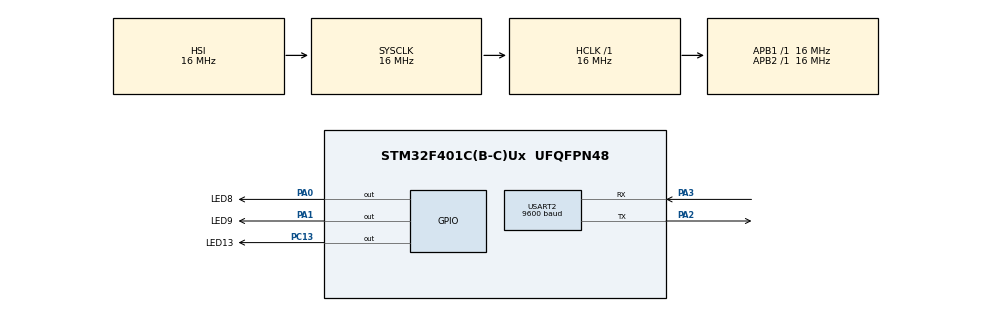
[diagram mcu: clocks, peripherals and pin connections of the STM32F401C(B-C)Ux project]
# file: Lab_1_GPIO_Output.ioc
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Mcu.Family=STM32F4
Mcu.Name=STM32F401C(B-C)Ux
Mcu.Package=UFQFPN48
NVIC.PriorityGroup=NVIC_PRIORITYGROUP_4
NVIC.USART2_IRQn=true\:5\:0\:true\:false\:true\:true\:true\:true
PA0-WKUP.GPIO_Label=LED8
PA0-WKUP.Signal=GPIO_Output
PA1.GPIO_Label=LED9
PA1.Signal=GPIO_Output
PA13.Mode=Serial_Wire
PA13.Signal=SYS_JTMS-SWDIO
PA14.Mode=Serial_Wire
PA14.Signal=SYS_JTCK-SWCLK
PA2.Mode=Asynchronous
PA2.Signal=USART2_TX
PA3.Mode=Asynchronous
PA3.Signal=USART2_RX
PC13-ANTI_TAMP.GPIO_Label=LED13
PC13-ANTI_TAMP.Signal=GPIO_Output
ProjectManager.HeapSize=0x200
ProjectManager.StackSize=0x400
ProjectManager.TargetToolchain=STM32CubeIDE
RCC.AHBFreq_Value=16000000
RCC.APB1Freq_Value=16000000
RCC.APB2Freq_Value=16000000
RCC.CortexFreq_Value=16000000
RCC.HSE_VALUE=25000000
RCC.HSI_VALUE=16000000
RCC.LSE_VALUE=32768
RCC.SYSCLKFreq_VALUE=16000000
RCC.VCOOutputFreq_Value=192000000
USART2.BaudRate=9600
USART2.VirtualMode=VM_ASYNC
board=custom

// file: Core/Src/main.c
/* USER CODE BEGIN Header */
/**
  ******************************************************************************
  * @file           : main.c
  * @brief          : Main program body
  ******************************************************************************
  * @attention
  *
  * Copyright (c) 2023 STMicroelectronics.
  * All rights reserved.
  *
  * This software is licensed under terms that can be found in the LICENSE file
  * in the root directory of this software component.
  * If no LICENSE file comes with this software, it is provided AS-IS.
  *
  ******************************************************************************
  */
/* USER CODE END Header */
#include "main.h"
#include <string.h>

UART_HandleTypeDef huart2;

/* USER CODE BEGIN PV */
uint8_t rx2[1] = { '\0' };
uint8_t tx2[1] = { '\0' };

uint8_t data[3] = {0};
int data_index = 0;
/* USER CODE END PV */

void SystemClock_Config(void);
static void MX_GPIO_Init(void);
static void MX_USART2_UART_Init(void);

int main(void)
{

  /* MCU Configuration--------------------------------------------------------*/

  /* Reset of all peripherals, Initializes the Flash interface and the Systick. */
  HAL_Init();

  /* Configure the system clock */
  SystemClock_Config();

  /* Initialize all configured peripherals */
  MX_GPIO_Init();
  MX_USART2_UART_Init();

  /* Infinite loop */
  /* USER CODE BEGIN WHILE */

  uint8_t msg[] = "Ready to work\n\r";

  HAL_UART_Transmit(&huart2, msg, sizeof(msg), 1000);
  while (1)
  {
	  HAL_GPIO_TogglePin(LED13_GPIO_Port, LED13_Pin);

    /* USER CODE END WHILE */

    /* USER CODE BEGIN 3 */
	 HAL_Delay(200);
	 if(huart2.RxState == HAL_UART_STATE_READY) {
		 HAL_UART_Receive_IT(&huart2, rx2, sizeof(rx2));
	 }
  }
  /* USER CODE END 3 */
}

void SystemClock_Config(void)
{
  RCC_OscInitTypeDef RCC_OscInitStruct = {0};
  RCC_ClkInitTypeDef RCC_ClkInitStruct = {0};

  /** Configure the main internal regulator output voltage
  */
  __HAL_RCC_PWR_CLK_ENABLE();
  __HAL_PWR_VOLTAGESCALING_CONFIG(PWR_REGULATOR_VOLTAGE_SCALE2);

  /** Initializes the RCC Oscillators according to the specified parameters
  * in the RCC_OscInitTypeDef structure.
  */
  RCC_OscInitStruct.OscillatorType = RCC_OSCILLATORTYPE_HSI;
  RCC_OscInitStruct.HSIState = RCC_HSI_ON;
  RCC_OscInitStruct.HSICalibrationValue = RCC_HSICALIBRATION_DEFAULT;
  RCC_OscInitStruct.PLL.PLLState = RCC_PLL_NONE;
  if (HAL_RCC_OscConfig(&RCC_OscInitStruct) != HAL_OK)
  {
    Error_Handler();
  }

  /** Initializes the CPU, AHB and APB buses clocks
  */
  RCC_ClkInitStruct.ClockType = RCC_CLOCKTYPE_HCLK|RCC_CLOCKTYPE_SYSCLK
                              |RCC_CLOCKTYPE_PCLK1|RCC_CLOCKTYPE_PCLK2;
  RCC_ClkInitStruct.SYSCLKSource = RCC_SYSCLKSOURCE_HSI;
  RCC_ClkInitStruct.AHBCLKDivider = RCC_SYSCLK_DIV1;
  RCC_ClkInitStruct.APB1CLKDivider = RCC_HCLK_DIV1;
  RCC_ClkInitStruct.APB2CLKDivider = RCC_HCLK_DIV1;

  if (HAL_RCC_ClockConfig(&RCC_ClkInitStruct, FLASH_LATENCY_0) != HAL_OK)
  {
    Error_Handler();
  }
}

static void MX_USART2_UART_Init(void)
{

  huart2.Instance = USART2;
  huart2.Init.BaudRate = 9600;
  huart2.Init.WordLength = UART_WORDLENGTH_8B;
  huart2.Init.StopBits = UART_STOPBITS_1;
  huart2.Init.Parity = UART_PARITY_NONE;
  huart2.Init.Mode = UART_MODE_TX_RX;
  huart2.Init.HwFlowCtl = UART_HWCONTROL_NONE;
  huart2.Init.OverSampling = UART_OVERSAMPLING_16;
  if (HAL_UART_Init(&huart2) != HAL_OK)
  {
    Error_Handler();
  }

}

static void MX_GPIO_Init(void)
{
  GPIO_InitTypeDef GPIO_InitStruct = {0};

  /* GPIO Ports Clock Enable */
  __HAL_RCC_GPIOC_CLK_ENABLE();
  __HAL_RCC_GPIOA_CLK_ENABLE();

  /*Configure GPIO pin Output Level */
  HAL_GPIO_WritePin(LED13_GPIO_Port, LED13_Pin, GPIO_PIN_RESET);

  /*Configure GPIO pin Output Level */
  HAL_GPIO_WritePin(GPIOA, LED8_Pin|LED9_Pin, GPIO_PIN_RESET);

  /*Configure GPIO pin : LED13_Pin */
  GPIO_InitStruct.Pin = LED13_Pin;
  GPIO_InitStruct.Mode = GPIO_MODE_OUTPUT_PP;
  GPIO_InitStruct.Pull = GPIO_NOPULL;
  GPIO_InitStruct.Speed = GPIO_SPEED_FREQ_LOW;
  HAL_GPIO_Init(LED13_GPIO_Port, &GPIO_InitStruct);

  /*Configure GPIO pins : LED8_Pin LED9_Pin */
  GPIO_InitStruct.Pin = LED8_Pin|LED9_Pin;
  GPIO_InitStruct.Mode = GPIO_MODE_OUTPUT_PP;
  GPIO_InitStruct.Pull = GPIO_NOPULL;
  GPIO_InitStruct.Speed = GPIO_SPEED_FREQ_LOW;
  HAL_GPIO_Init(GPIOA, &GPIO_InitStruct);

}

/* USER CODE BEGIN 4 */
void HAL_UART_TxCpltCallback(UART_HandleTypeDef *huart) {
	if(huart == &huart2) {
		tx2[0] = '\0';
	}
}

void pin_set(GPIO_TypeDef* GPIOx, uint16_t GPIO_Pin) {
	HAL_GPIO_WritePin(GPIOx, GPIO_Pin, GPIO_PIN_SET);
}

void pin_reset(GPIO_TypeDef* GPIOx, uint16_t GPIO_Pin) {
	HAL_GPIO_WritePin(GPIOx, GPIO_Pin, GPIO_PIN_RESET);
}

void HAL_UART_RxCpltCallback(UART_HandleTypeDef *huart) {

	if (huart == &huart2) {
		tx2[0] = rx2[0];

		if (data_index < 3) {
			data[data_index] = rx2[0];
			data_index++;
		} else {
			data_index = 0;

			if (!strcmp((char*)data, "P8S")) {
				pin_set(LED8_GPIO_Port, LED8_Pin);
				HAL_UART_Transmit_IT(&huart2, (uint8_t *)"pin 8 set\n\r", sizeof("pin 8 set\n\r"));
			} else if (!strcmp((char*)data, "P8R")) {
				pin_reset(LED8_GPIO_Port, LED8_Pin);
				HAL_UART_Transmit_IT(&huart2, (uint8_t *)"pin 8 reset\n\r", sizeof("pin 8 reset\n\r"));
			} else if (!strcmp((char*)data, "P9S")) {
				pin_set(LED9_GPIO_Port, LED9_Pin);
				HAL_UART_Transmit_IT(&huart2, (uint8_t *)"pin 9 set\n\r", sizeof("pin 9 set\n\r"));
			} else if (!strcmp((char*)data, "P9R")) {
				pin_reset(LED9_GPIO_Port, LED9_Pin);
				HAL_UART_Transmit_IT(&huart2, (uint8_t *)"pin 9 reset\n\r", sizeof("pin 9 reset\n\r"));
			} else {
				HAL_UART_Transmit_IT(&huart2, data, sizeof(data));
				HAL_UART_Transmit_IT(&huart2, (uint8_t *)"wrong command\n\r", sizeof("wrong command\n\r"));
			}
		}

		HAL_UART_Transmit_IT(&huart2, tx2, sizeof(tx2));
		HAL_UART_Receive_IT(&huart2, rx2, sizeof(rx2));
	}
}
/* USER CODE END 4 */

void Error_Handler(void)
{
  __disable_irq();
  while (1)
  {
  }
}
